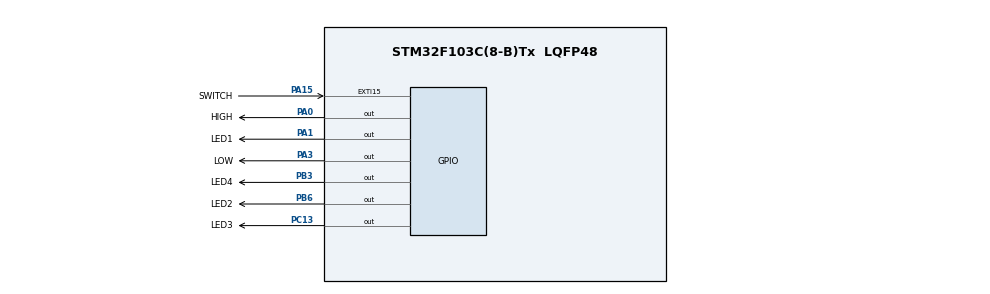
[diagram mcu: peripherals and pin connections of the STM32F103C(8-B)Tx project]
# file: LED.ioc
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Mcu.Family=STM32F1
Mcu.Name=STM32F103C(8-B)Tx
Mcu.Package=LQFP48
NVIC.EXTI15_10_IRQn=true\:0\:0\:false\:false\:true\:true\:true
NVIC.PriorityGroup=NVIC_PRIORITYGROUP_4
PA0-WKUP.GPIO_Label=HIGH
PA0-WKUP.PinState=GPIO_PIN_SET
PA0-WKUP.Signal=GPIO_Output
PA1.GPIO_Label=LED1
PA1.PinState=GPIO_PIN_RESET
PA1.Signal=GPIO_Output
PA13.Mode=Serial_Wire
PA13.Signal=SYS_JTMS-SWDIO
PA14.Mode=Serial_Wire
PA14.Signal=SYS_JTCK-SWCLK
PA15.GPIO_Label=SWITCH
PA15.GPIO_ModeDefaultEXTI=GPIO_MODE_IT_RISING_FALLING
PA15.Signal=GPXTI15
PA3.GPIO_Label=LOW
PA3.Signal=GPIO_Output
PB3.GPIO_Label=LED4
PB3.PinState=GPIO_PIN_RESET
PB3.Signal=GPIO_Output
PB6.GPIO_Label=LED2
PB6.PinState=GPIO_PIN_RESET
PB6.Signal=GPIO_Output
PC13-TAMPER-RTC.GPIO_Label=LED3
PC13-TAMPER-RTC.PinState=GPIO_PIN_SET
PC13-TAMPER-RTC.Signal=GPIO_Output
PD0-OSC_IN.Mode=HSE-External-Oscillator
PD0-OSC_IN.Signal=RCC_OSC_IN
PD1-OSC_OUT.Mode=HSE-External-Oscillator
PD1-OSC_OUT.Signal=RCC_OSC_OUT
ProjectManager.HeapSize=0x200
ProjectManager.StackSize=0x400
ProjectManager.TargetToolchain=MDK-ARM V5
RCC.APB1Freq_Value=8000000
RCC.APB2Freq_Value=8000000
board=custom

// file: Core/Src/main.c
/* USER CODE BEGIN Header */
/**
  ******************************************************************************
  * @file           : main.c
  * @brief          : Main program body
  ******************************************************************************
  * @attention
  *
  * <h2><center>&copy; Copyright (c) 2025 STMicroelectronics.
  * All rights reserved.</center></h2>
  *
  * This software component is licensed by ST under BSD 3-Clause license,
  * the "License"; You may not use this file except in compliance with the
  * License. You may obtain a copy of the License at:
  *                        opensource.org/licenses/BSD-3-Clause
  *
  ******************************************************************************
  */
/* USER CODE END Header */
#include "main.h"
#include "gpio.h"

void SystemClock_Config(void);

int main(void)
{
  /* USER CODE BEGIN 1 */
	extern uint16_t flag;

  /* USER CODE END 1 */

  /* MCU Configuration--------------------------------------------------------*/

  /* Reset of all peripherals, Initializes the Flash interface and the Systick. */
  HAL_Init();

  /* Configure the system clock */
  SystemClock_Config();

  /* Initialize all configured peripherals */
  MX_GPIO_Init();

  /* Infinite loop */
  while (1)
  {

    /* USER CODE BEGIN 3 */
		if(flag==1){
		HAL_GPIO_WritePin(GPIOA, GPIO_PIN_1, GPIO_PIN_SET);  // LED1��
	  HAL_Delay(1000); // ��ʱ1000ms
	  HAL_GPIO_WritePin(GPIOA, GPIO_PIN_1, GPIO_PIN_RESET);  // LED1��
		}

		if(flag==1){
		HAL_GPIO_WritePin(GPIOB, GPIO_PIN_6, GPIO_PIN_SET);  // LED2��
	  HAL_Delay(1000); // ��ʱ1000ms
	  HAL_GPIO_WritePin(GPIOB, GPIO_PIN_6, GPIO_PIN_RESET);  // LED2��
		}

		if(flag==1){
		HAL_GPIO_WritePin(GPIOC, GPIO_PIN_13, GPIO_PIN_RESET);  // LED3��
	  HAL_Delay(1000); // ��ʱ1000ms
	  HAL_GPIO_WritePin(GPIOC, GPIO_PIN_13, GPIO_PIN_SET);  // LED3��
		}

		if(flag==1){
		HAL_GPIO_WritePin(GPIOB, GPIO_PIN_3, GPIO_PIN_SET);  // LED4��
	  HAL_Delay(1000); // ��ʱ1000ms
	  HAL_GPIO_WritePin(GPIOB, GPIO_PIN_3, GPIO_PIN_RESET);  // LED4��
		}
  }
  /* USER CODE END 3 */
}

void SystemClock_Config(void)
{
  RCC_OscInitTypeDef RCC_OscInitStruct = {0};
  RCC_ClkInitTypeDef RCC_ClkInitStruct = {0};

  /** Initializes the RCC Oscillators according to the specified parameters
  * in the RCC_OscInitTypeDef structure.
  */
  RCC_OscInitStruct.OscillatorType = RCC_OSCILLATORTYPE_HSI;
  RCC_OscInitStruct.HSIState = RCC_HSI_ON;
  RCC_OscInitStruct.HSICalibrationValue = RCC_HSICALIBRATION_DEFAULT;
  RCC_OscInitStruct.PLL.PLLState = RCC_PLL_NONE;
  if (HAL_RCC_OscConfig(&RCC_OscInitStruct) != HAL_OK)
  {
    Error_Handler();
  }
  /** Initializes the CPU, AHB and APB buses clocks
  */
  RCC_ClkInitStruct.ClockType = RCC_CLOCKTYPE_HCLK|RCC_CLOCKTYPE_SYSCLK
                              |RCC_CLOCKTYPE_PCLK1|RCC_CLOCKTYPE_PCLK2;
  RCC_ClkInitStruct.SYSCLKSource = RCC_SYSCLKSOURCE_HSI;
  RCC_ClkInitStruct.AHBCLKDivider = RCC_SYSCLK_DIV1;
  RCC_ClkInitStruct.APB1CLKDivider = RCC_HCLK_DIV1;
  RCC_ClkInitStruct.APB2CLKDivider = RCC_HCLK_DIV1;

  if (HAL_RCC_ClockConfig(&RCC_ClkInitStruct, FLASH_LATENCY_0) != HAL_OK)
  {
    Error_Handler();
  }
}

void Error_Handler(void)
{
  __disable_irq();
  while (1)
  {
  }
}

/************************ (C) COPYRIGHT STMicroelectronics *****END OF FILE****/
